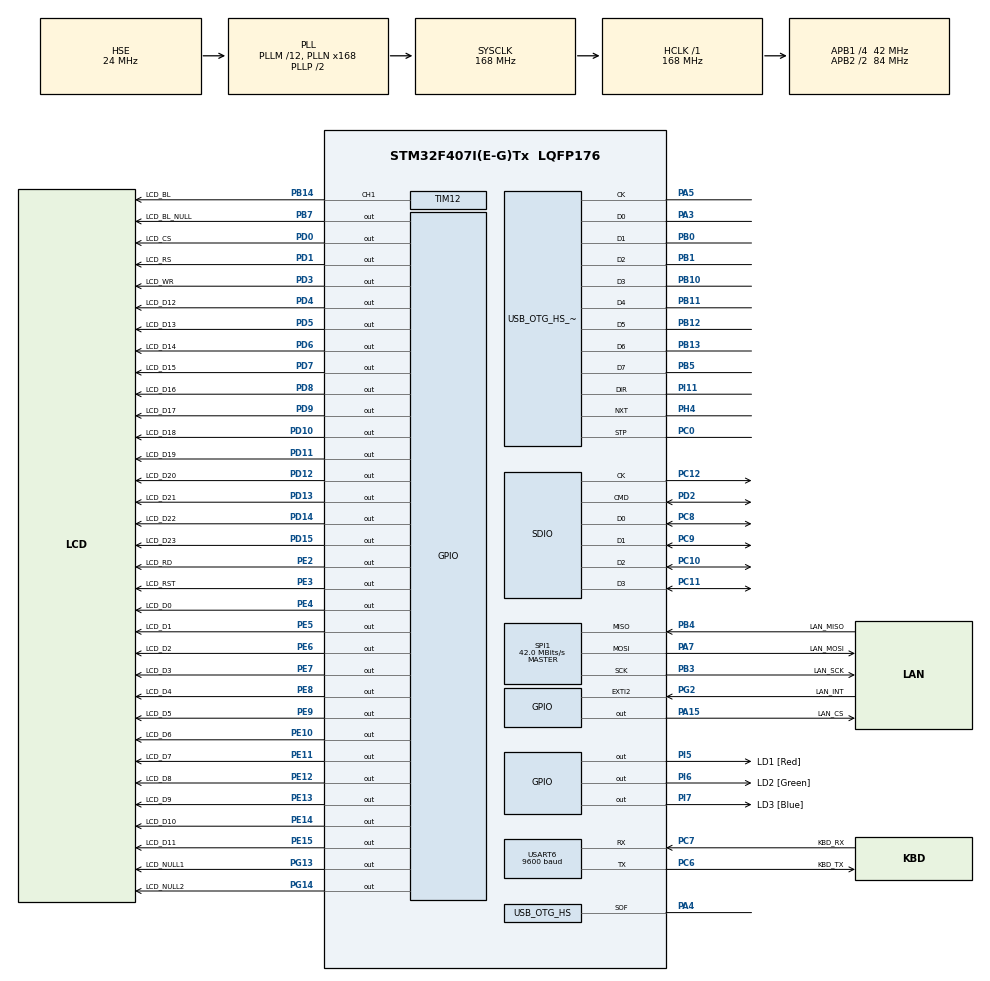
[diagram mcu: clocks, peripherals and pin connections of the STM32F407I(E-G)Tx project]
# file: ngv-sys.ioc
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FATFS.USE_DMA_CODE_SD=0
Mcu.Family=STM32F4
Mcu.Name=STM32F407I(E-G)Tx
Mcu.Package=LQFP176
NVIC.OTG_HS_IRQn=true\:0\:0\:false\:false\:true\:true
NVIC.PriorityGroup=NVIC_PRIORITYGROUP_4
PA13.Mode=Serial_Wire
PA13.Signal=SYS_JTMS-SWDIO
PA14.Mode=Serial_Wire
PA14.Signal=SYS_JTCK-SWCLK
PA15.GPIO_Label=LAN_CS
PA15.GPIO_Speed=GPIO_SPEED_FREQ_VERY_HIGH
PA15.PinState=GPIO_PIN_SET
PA15.Signal=GPIO_Output
PA3.Mode=Device_HS
PA3.Signal=USB_OTG_HS_ULPI_D0
PA4.Mode=Activate_SOF_FS
PA4.Signal=USB_OTG_HS_SOF
PA5.Mode=Device_HS
PA5.Signal=USB_OTG_HS_ULPI_CK
PA7.GPIO_Label=LAN_MOSI
PA7.Mode=Full_Duplex_Master
PA7.Signal=SPI1_MOSI
PB0.Mode=Device_HS
PB0.Signal=USB_OTG_HS_ULPI_D1
PB1.Mode=Device_HS
PB1.Signal=USB_OTG_HS_ULPI_D2
PB10.Mode=Device_HS
PB10.Signal=USB_OTG_HS_ULPI_D3
PB11.Mode=Device_HS
PB11.Signal=USB_OTG_HS_ULPI_D4
PB12.Mode=Device_HS
PB12.Signal=USB_OTG_HS_ULPI_D5
PB13.Mode=Device_HS
PB13.Signal=USB_OTG_HS_ULPI_D6
PB14.GPIO_Label=LCD_BL
PB14.Signal=S_TIM12_CH1
PB3.GPIO_Label=LAN_SCK
PB3.Mode=Full_Duplex_Master
PB3.Signal=SPI1_SCK
PB4.GPIO_Label=LAN_MISO
PB4.Mode=Full_Duplex_Master
PB4.Signal=SPI1_MISO
PB5.Mode=Device_HS
PB5.Signal=USB_OTG_HS_ULPI_D7
PB7.GPIO_Label=LCD_BL_NULL
PB7.Signal=GPIO_Output
PC0.Mode=Device_HS
PC0.Signal=USB_OTG_HS_ULPI_STP
PC10.Mode=SD_4_bits_Wide_bus
PC10.Signal=SDIO_D2
PC11.Mode=SD_4_bits_Wide_bus
PC11.Signal=SDIO_D3
PC12.Mode=SD_4_bits_Wide_bus
PC12.Signal=SDIO_CK
PC14-OSC32_IN.Mode=LSE-External-Oscillator
PC14-OSC32_IN.Signal=RCC_OSC32_IN
PC15-OSC32_OUT.Mode=LSE-External-Oscillator
PC15-OSC32_OUT.Signal=RCC_OSC32_OUT
PC6.GPIO_Label=KBD_TX
PC6.Mode=Asynchronous
PC6.Signal=USART6_TX
PC7.GPIO_Label=KBD_RX
PC7.Mode=Asynchronous
PC7.Signal=USART6_RX
PC8.Mode=SD_4_bits_Wide_bus
PC8.Signal=SDIO_D0
PC9.Mode=SD_4_bits_Wide_bus
PC9.Signal=SDIO_D1
PD0.GPIO_Label=LCD_CS
PD0.GPIO_Speed=GPIO_SPEED_FREQ_VERY_HIGH
PD0.PinState=GPIO_PIN_SET
PD0.Signal=GPIO_Output
PD1.GPIO_Label=LCD_RS
PD1.GPIO_Speed=GPIO_SPEED_FREQ_VERY_HIGH
PD1.PinState=GPIO_PIN_SET
PD1.Signal=GPIO_Output
PD10.GPIO_Label=LCD_D18
PD10.GPIO_ModeDefaultOutputPP=GPIO_MODE_OUTPUT_PP
PD10.GPIO_PuPd=GPIO_NOPULL
PD10.GPIO_Speed=GPIO_SPEED_FREQ_VERY_HIGH
PD10.PinState=GPIO_PIN_SET
PD10.Signal=GPIO_Output
PD11.GPIO_Label=LCD_D19
PD11.GPIO_ModeDefaultOutputPP=GPIO_MODE_OUTPUT_PP
PD11.GPIO_PuPd=GPIO_NOPULL
PD11.GPIO_Speed=GPIO_SPEED_FREQ_VERY_HIGH
PD11.PinState=GPIO_PIN_SET
PD11.Signal=GPIO_Output
PD12.GPIO_Label=LCD_D20
PD12.GPIO_ModeDefaultOutputPP=GPIO_MODE_OUTPUT_PP
PD12.GPIO_PuPd=GPIO_NOPULL
PD12.GPIO_Speed=GPIO_SPEED_FREQ_VERY_HIGH
PD12.PinState=GPIO_PIN_SET
PD12.Signal=GPIO_Output
PD13.GPIO_Label=LCD_D21
PD13.GPIO_ModeDefaultOutputPP=GPIO_MODE_OUTPUT_PP
PD13.GPIO_PuPd=GPIO_NOPULL
PD13.GPIO_Speed=GPIO_SPEED_FREQ_VERY_HIGH
PD13.PinState=GPIO_PIN_SET
PD13.Signal=GPIO_Output
PD14.GPIO_Label=LCD_D22
PD14.GPIO_ModeDefaultOutputPP=GPIO_MODE_OUTPUT_PP
PD14.GPIO_PuPd=GPIO_NOPULL
PD14.GPIO_Speed=GPIO_SPEED_FREQ_VERY_HIGH
PD14.PinState=GPIO_PIN_SET
PD14.Signal=GPIO_Output
PD15.GPIO_Label=LCD_D23
PD15.GPIO_ModeDefaultOutputPP=GPIO_MODE_OUTPUT_PP
PD15.GPIO_PuPd=GPIO_NOPULL
PD15.GPIO_Speed=GPIO_SPEED_FREQ_VERY_HIGH
PD15.PinState=GPIO_PIN_SET
PD15.Signal=GPIO_Output
PD2.Mode=SD_4_bits_Wide_bus
PD2.Signal=SDIO_CMD
PD3.GPIO_Label=LCD_WR
PD3.GPIO_Speed=GPIO_SPEED_FREQ_VERY_HIGH
PD3.PinState=GPIO_PIN_SET
PD3.Signal=GPIO_Output
PD4.GPIO_Label=LCD_D12
PD4.GPIO_ModeDefaultOutputPP=GPIO_MODE_OUTPUT_PP
PD4.GPIO_PuPd=GPIO_NOPULL
PD4.GPIO_Speed=GPIO_SPEED_FREQ_VERY_HIGH
PD4.PinState=GPIO_PIN_SET
PD4.Signal=GPIO_Output
PD5.GPIO_Label=LCD_D13
PD5.GPIO_ModeDefaultOutputPP=GPIO_MODE_OUTPUT_PP
PD5.GPIO_PuPd=GPIO_NOPULL
PD5.GPIO_Speed=GPIO_SPEED_FREQ_VERY_HIGH
PD5.PinState=GPIO_PIN_SET
PD5.Signal=GPIO_Output
PD6.GPIO_Label=LCD_D14
PD6.GPIO_ModeDefaultOutputPP=GPIO_MODE_OUTPUT_PP
PD6.GPIO_PuPd=GPIO_NOPULL
PD6.GPIO_Speed=GPIO_SPEED_FREQ_VERY_HIGH
PD6.PinState=GPIO_PIN_SET
PD6.Signal=GPIO_Output
PD7.GPIO_Label=LCD_D15
PD7.GPIO_ModeDefaultOutputPP=GPIO_MODE_OUTPUT_PP
PD7.GPIO_PuPd=GPIO_NOPULL
PD7.GPIO_Speed=GPIO_SPEED_FREQ_VERY_HIGH
PD7.PinState=GPIO_PIN_SET
PD7.Signal=GPIO_Output
PD8.GPIO_Label=LCD_D16
PD8.GPIO_ModeDefaultOutputPP=GPIO_MODE_OUTPUT_PP
PD8.GPIO_PuPd=GPIO_NOPULL
PD8.GPIO_Speed=GPIO_SPEED_FREQ_VERY_HIGH
PD8.PinState=GPIO_PIN_SET
PD8.Signal=GPIO_Output
PD9.GPIO_Label=LCD_D17
PD9.GPIO_ModeDefaultOutputPP=GPIO_MODE_OUTPUT_PP
PD9.GPIO_PuPd=GPIO_NOPULL
PD9.GPIO_Speed=GPIO_SPEED_FREQ_VERY_HIGH
PD9.PinState=GPIO_PIN_SET
PD9.Signal=GPIO_Output
PE10.GPIO_Label=LCD_D6
PE10.GPIO_ModeDefaultOutputPP=GPIO_MODE_OUTPUT_PP
PE10.GPIO_PuPd=GPIO_NOPULL
PE10.GPIO_Speed=GPIO_SPEED_FREQ_VERY_HIGH
PE10.PinState=GPIO_PIN_SET
PE10.Signal=GPIO_Output
PE11.GPIO_Label=LCD_D7
PE11.GPIO_ModeDefaultOutputPP=GPIO_MODE_OUTPUT_PP
PE11.GPIO_PuPd=GPIO_NOPULL
PE11.GPIO_Speed=GPIO_SPEED_FREQ_VERY_HIGH
PE11.PinState=GPIO_PIN_SET
PE11.Signal=GPIO_Output
PE12.GPIO_Label=LCD_D8
PE12.GPIO_ModeDefaultOutputPP=GPIO_MODE_OUTPUT_PP
PE12.GPIO_PuPd=GPIO_NOPULL
PE12.GPIO_Speed=GPIO_SPEED_FREQ_VERY_HIGH
PE12.PinState=GPIO_PIN_SET
PE12.Signal=GPIO_Output
PE13.GPIO_Label=LCD_D9
PE13.GPIO_ModeDefaultOutputPP=GPIO_MODE_OUTPUT_PP
PE13.GPIO_PuPd=GPIO_NOPULL
PE13.GPIO_Speed=GPIO_SPEED_FREQ_VERY_HIGH
PE13.PinState=GPIO_PIN_SET
PE13.Signal=GPIO_Output
PE14.GPIO_Label=LCD_D10
PE14.GPIO_ModeDefaultOutputPP=GPIO_MODE_OUTPUT_PP
PE14.GPIO_PuPd=GPIO_NOPULL
PE14.GPIO_Speed=GPIO_SPEED_FREQ_VERY_HIGH
PE14.PinState=GPIO_PIN_SET
PE14.Signal=GPIO_Output
PE15.GPIO_Label=LCD_D11
PE15.GPIO_ModeDefaultOutputPP=GPIO_MODE_OUTPUT_PP
PE15.GPIO_PuPd=GPIO_NOPULL
PE15.GPIO_Speed=GPIO_SPEED_FREQ_VERY_HIGH
PE15.PinState=GPIO_PIN_SET
PE15.Signal=GPIO_Output
PE2.GPIO_Label=LCD_RD
PE2.GPIO_Speed=GPIO_SPEED_FREQ_VERY_HIGH
PE2.PinState=GPIO_PIN_SET
PE2.Signal=GPIO_Output
PE3.GPIO_Label=LCD_RST
PE3.GPIO_Speed=GPIO_SPEED_FREQ_VERY_HIGH
PE3.PinState=GPIO_PIN_SET
PE3.Signal=GPIO_Output
PE4.GPIO_Label=LCD_D0
PE4.GPIO_ModeDefaultOutputPP=GPIO_MODE_OUTPUT_PP
PE4.GPIO_PuPd=GPIO_NOPULL
PE4.GPIO_Speed=GPIO_SPEED_FREQ_VERY_HIGH
PE4.PinState=GPIO_PIN_SET
PE4.Signal=GPIO_Output
PE5.GPIO_Label=LCD_D1
PE5.GPIO_ModeDefaultOutputPP=GPIO_MODE_OUTPUT_PP
PE5.GPIO_PuPd=GPIO_NOPULL
PE5.GPIO_Speed=GPIO_SPEED_FREQ_VERY_HIGH
PE5.PinState=GPIO_PIN_SET
PE5.Signal=GPIO_Output
PE6.GPIO_Label=LCD_D2
PE6.GPIO_ModeDefaultOutputPP=GPIO_MODE_OUTPUT_PP
PE6.GPIO_PuPd=GPIO_NOPULL
PE6.GPIO_Speed=GPIO_SPEED_FREQ_VERY_HIGH
PE6.PinState=GPIO_PIN_SET
PE6.Signal=GPIO_Output
PE7.GPIO_Label=LCD_D3
PE7.GPIO_ModeDefaultOutputPP=GPIO_MODE_OUTPUT_PP
PE7.GPIO_PuPd=GPIO_NOPULL
PE7.GPIO_Speed=GPIO_SPEED_FREQ_VERY_HIGH
PE7.PinState=GPIO_PIN_SET
PE7.Signal=GPIO_Output
PE8.GPIO_Label=LCD_D4
PE8.GPIO_ModeDefaultOutputPP=GPIO_MODE_OUTPUT_PP
PE8.GPIO_PuPd=GPIO_NOPULL
PE8.GPIO_Speed=GPIO_SPEED_FREQ_VERY_HIGH
PE8.PinState=GPIO_PIN_SET
PE8.Signal=GPIO_Output
PE9.GPIO_Label=LCD_D5
PE9.GPIO_ModeDefaultOutputPP=GPIO_MODE_OUTPUT_PP
PE9.GPIO_PuPd=GPIO_NOPULL
PE9.GPIO_Speed=GPIO_SPEED_FREQ_VERY_HIGH
PE9.PinState=GPIO_PIN_SET
PE9.Signal=GPIO_Output
PG13.GPIO_Label=LCD_NULL1
PG13.Signal=GPIO_Output
PG14.GPIO_Label=LCD_NULL2
PG14.Signal=GPIO_Output
PG2.GPIO_Label=LAN_INT
PG2.Signal=GPXTI2
PH0-OSC_IN.Mode=HSE-External-Oscillator
PH0-OSC_IN.Signal=RCC_OSC_IN
PH1-OSC_OUT.Mode=HSE-External-Oscillator
PH1-OSC_OUT.Signal=RCC_OSC_OUT
PH4.Mode=Device_HS
PH4.Signal=USB_OTG_HS_ULPI_NXT
PI11.Mode=Device_HS
PI11.Signal=USB_OTG_HS_ULPI_DIR
PI5.GPIO_Label=LD1 [Red]
PI5.GPIO_Speed=GPIO_SPEED_FREQ_VERY_HIGH
PI5.PinState=GPIO_PIN_SET
PI5.Signal=GPIO_Output
PI6.GPIO_Label=LD2 [Green]
PI6.GPIO_Speed=GPIO_SPEED_FREQ_VERY_HIGH
PI6.PinState=GPIO_PIN_SET
PI6.Signal=GPIO_Output
PI7.GPIO_Label=LD3 [Blue]
PI7.GPIO_Speed=GPIO_SPEED_FREQ_VERY_HIGH
PI7.PinState=GPIO_PIN_SET
PI7.Signal=GPIO_Output
ProjectManager.HeapSize=0x400
ProjectManager.StackSize=0x800
ProjectManager.TargetToolchain=SW4STM32
RCC.48MHZClocksFreq_Value=48000000
RCC.AHBFreq_Value=168000000
RCC.APB1CLKDivider=RCC_HCLK_DIV4
RCC.APB1Freq_Value=42000000
RCC.APB1TimFreq_Value=84000000
RCC.APB2CLKDivider=RCC_HCLK_DIV2
RCC.APB2Freq_Value=84000000
RCC.APB2TimFreq_Value=168000000
RCC.CortexFreq_Value=168000000
RCC.EnbaleCSS=true
RCC.HCLKFreq_Value=168000000
RCC.HSE_VALUE=24000000
RCC.HSI_VALUE=16000000
RCC.PLLM=12
RCC.PLLN=168
RCC.PLLQ=7
RCC.PLLSourceVirtual=RCC_PLLSOURCE_HSE
RCC.SYSCLKFreq_VALUE=168000000
RCC.SYSCLKSource=RCC_SYSCLKSOURCE_PLLCLK
RCC.VCOOutputFreq_Value=336000000
SDIO.WideMode=SDIO_BUS_WIDE_4B
SH.S_TIM12_CH1.0=TIM12_CH1,PWM Generation1 CH1
SPI1.CalculateBaudRate=42.0 MBits/s
SPI1.Direction=SPI_DIRECTION_2LINES
SPI1.Mode=SPI_MODE_MASTER
SPI1.VirtualType=VM_MASTER
TIM12.Channel-PWM\ Generation1\ CH1=TIM_CHANNEL_1
TIM12.Period=100
TIM12.Prescaler=335
TIM12.Pulse-PWM\ Generation1\ CH1=90
USART6.BaudRate=9600
USART6.VirtualMode=VM_ASYNC
USB_DEVICE.CLASS_NAME-MSC_HS=MSC
USB_DEVICE.CLASS_NAME_HS=MSC
USB_DEVICE.USBD_HandleTypeDef-MSC_HS=hUsbDeviceHS
USB_DEVICE.VirtualMode-MSC_HS=Msc
USB_DEVICE.VirtualModeHS=Msc_HS
USB_OTG_HS.VirtualMode-Device_HS=Device_HS
VP_FATFS_VS_SDIO.Mode=SDIO
VP_USB_DEVICE_VS_USB_DEVICE_MSC_HS.Mode=MSC_HS
board=ngv-sys

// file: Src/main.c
/**
  ******************************************************************************
  * @file           : main.c
  * @brief          : Main program body
  ******************************************************************************
  * This notice applies to any and all portions of this file
  * that are not between comment pairs USER CODE BEGIN and
  * USER CODE END. Other portions of this file, whether
  * inserted by the user or by software development tools
  * are owned by their respective copyright owners.
  *
  * Copyright (c) 2018 STMicroelectronics International N.V.
  * All rights reserved.
  *
  * Redistribution and use in source and binary forms, with or without
  * modification, are permitted, provided that the following conditions are met:
  *
  * 1. Redistribution of source code must retain the above copyright notice,
  *    this list of conditions and the following disclaimer.
  * 2. Redistributions in binary form must reproduce the above copyright notice,
  *    this list of conditions and the following disclaimer in the documentation
  *    and/or other materials provided with the distribution.
  * 3. Neither the name of STMicroelectronics nor the names of other
  *    contributors to this software may be used to endorse or promote products
  *    derived from this software without specific written permission.
  * 4. This software, including modifications and/or derivative works of this
  *    software, must execute solely and exclusively on microcontroller or
  *    microprocessor devices manufactured by or for STMicroelectronics.
  * 5. Redistribution and use of this software other than as permitted under
  *    this license is void and will automatically terminate your rights under
  *    this license.
  *
  * THIS SOFTWARE IS PROVIDED BY STMICROELECTRONICS AND CONTRIBUTORS "AS IS"
  * AND ANY EXPRESS, IMPLIED OR STATUTORY WARRANTIES, INCLUDING, BUT NOT
  * LIMITED TO, THE IMPLIED WARRANTIES OF MERCHANTABILITY, FITNESS FOR A
  * PARTICULAR PURPOSE AND NON-INFRINGEMENT OF THIRD PARTY INTELLECTUAL PROPERTY
  * RIGHTS ARE DISCLAIMED TO THE FULLEST EXTENT PERMITTED BY LAW. IN NO EVENT
  * SHALL STMICROELECTRONICS OR CONTRIBUTORS BE LIABLE FOR ANY DIRECT, INDIRECT,
  * INCIDENTAL, SPECIAL, EXEMPLARY, OR CONSEQUENTIAL DAMAGES (INCLUDING, BUT NOT
  * LIMITED TO, PROCUREMENT OF SUBSTITUTE GOODS OR SERVICES; LOSS OF USE, DATA,
  * OR PROFITS; OR BUSINESS INTERRUPTION) HOWEVER CAUSED AND ON ANY THEORY OF
  * LIABILITY, WHETHER IN CONTRACT, STRICT LIABILITY, OR TORT (INCLUDING
  * NEGLIGENCE OR OTHERWISE) ARISING IN ANY WAY OUT OF THE USE OF THIS SOFTWARE,
  * EVEN IF ADVISED OF THE POSSIBILITY OF SUCH DAMAGE.
  *
  ******************************************************************************
  */
#include "main.h"
#include "stm32f4xx_hal.h"
#include "fatfs.h"
#include "usb_device.h"

/* USER CODE BEGIN Includes */
#define NGV_SYS_VERSION "180606"

#include "usbd_core.h"
#include <setjmp.h>

#include "lcd.h"
#include "logo.h"
#include "nshel.h"
/* USER CODE END Includes */

SD_HandleTypeDef hsd;

SPI_HandleTypeDef hspi1;

TIM_HandleTypeDef htim12;

UART_HandleTypeDef huart6;

/* USER CODE BEGIN PV */
/* Private variables ---------------------------------------------------------*/
LCD* lcd;
pIO rd = { LCD_RD_GPIO_Port, LCD_RD_Pin },
	wr = { LCD_WR_GPIO_Port, LCD_WR_Pin },
	rs = { LCD_RS_GPIO_Port, LCD_RS_Pin },
	cs = { LCD_CS_GPIO_Port, LCD_CS_Pin },
	rst = { LCD_RST_GPIO_Port, LCD_RST_Pin };
pIO data[24] = {
	{ LCD_D0_GPIO_Port, LCD_D0_Pin }, { LCD_D1_GPIO_Port, LCD_D1_Pin },
	{ LCD_D2_GPIO_Port, LCD_D2_Pin }, { LCD_D3_GPIO_Port, LCD_D3_Pin },
	{ LCD_D4_GPIO_Port, LCD_D4_Pin }, { LCD_D5_GPIO_Port, LCD_D5_Pin },
	{ LCD_D6_GPIO_Port, LCD_D6_Pin }, { LCD_D7_GPIO_Port, LCD_D7_Pin },
	{ LCD_D8_GPIO_Port, LCD_D8_Pin }, { LCD_D9_GPIO_Port, LCD_D9_Pin },
	{ LCD_D10_GPIO_Port, LCD_D10_Pin }, { LCD_D11_GPIO_Port, LCD_D11_Pin },
	{ LCD_D12_GPIO_Port, LCD_D12_Pin }, { LCD_D13_GPIO_Port, LCD_D13_Pin },
	{ LCD_D14_GPIO_Port, LCD_D14_Pin }, { LCD_D15_GPIO_Port, LCD_D15_Pin },
	{ LCD_D16_GPIO_Port, LCD_D16_Pin }, { LCD_D17_GPIO_Port, LCD_D17_Pin },
	{ LCD_D18_GPIO_Port, LCD_D18_Pin }, { LCD_D19_GPIO_Port, LCD_D19_Pin },
	{ LCD_D20_GPIO_Port, LCD_D20_Pin }, { LCD_D21_GPIO_Port, LCD_D21_Pin },
	{ LCD_D22_GPIO_Port, LCD_D22_Pin }, { LCD_D23_GPIO_Port, LCD_D23_Pin }
};
jmp_buf rstPos;
uint8_t FS_OK = 0;
HAL_SD_CardInfoTypeDef cardInfo;

FIL file;
FATFS fs;
/* USER CODE END PV */

void SystemClock_Config(void);
static void MX_GPIO_Init(void);
static void MX_SDIO_SD_Init(void);
static void MX_SPI1_Init(void);
static void MX_USART6_UART_Init(void);
static void MX_TIM12_Init(void);

void HAL_TIM_MspPostInit(TIM_HandleTypeDef *htim);

/* USER CODE BEGIN PFP */
/* Private function prototypes -----------------------------------------------*/
void greenScreen(char* head) {
	lcd->colorb(lcd->p, 0x007F00);
	lcd->colorf(lcd->p, 0xFFFFFF);
	lcd->font(lcd->p, Small);
	lcd->clear(lcd->p);
	lcd->printfc(lcd->p, 64, "%s", head);
	lcd->printfc(lcd->p, 100, "WE DO NOT KNOW");
	lcd->printfc(lcd->p, 110, "WHAT HAD HAPPENED");
	for (int i = 0; i < 5; i++)
		for (int j = 0; j < 250; j++)
			for (int k = 0; k < 168000; k++)
				asm("nop");
	NVIC_SystemReset();
}
/* USER CODE END PFP */

int main(void)
{
  /* USER CODE BEGIN 1 */
	lcd = LCDInit(&rd, &wr, &rs, &cs, &rst, data);
  /* USER CODE END 1 */

  /* MCU Configuration----------------------------------------------------------*/

  /* Reset of all peripherals, Initializes the Flash interface and the Systick. */
  HAL_Init();

  /* Configure the system clock */
  SystemClock_Config();

  /* Initialize all configured peripherals */
  MX_GPIO_Init();
  MX_SDIO_SD_Init();
  MX_FATFS_Init();
  MX_USB_DEVICE_Init();
  MX_SPI1_Init();
  MX_USART6_UART_Init();
  MX_TIM12_Init();
  /* USER CODE BEGIN 2 */
	setjmp(rstPos);
	USBD_Stop(&hUsbDeviceHS);

	lcd->init(lcd->p);
	lcd->rotate(lcd->p, LCD_LANDSCAPE);
	lcd->font(lcd->p, Small);
	lcd->colorb(lcd->p, 0xFFFFFF);
	lcd->colorf(lcd->p, 0x000000);
	lcd->clear(lcd->p);

	lcd->bitmapsc(lcd->p, lcd->p->width / 2, 140, 64, 64, getLogo());
	lcd->printfc(lcd->p, 180, "nyagame vita");
	HAL_TIM_PWM_Start(&htim12, TIM_CHANNEL_1);
	HAL_Delay(1000);
	lcd->clear(lcd->p);

	lcd->printfa(lcd->p, "NyaGame Vita Factory System\n");
	lcd->printfa(lcd->p, "Version: %s\n\n", NGV_SYS_VERSION);
	HAL_Delay(1000);

	/* Initialize device */
	uint8_t result = 0;
	if (HAL_SD_Init(&hsd) == HAL_OK) {
		lcd->printfa(lcd->p, "Init SD card... OK\n");
	} else {
		lcd->printfa(lcd->p, "Init SD card... ERR\n");
	}

	lcd->printfa(lcd->p, "Mount SD card...\n");
	result = f_mount(&fs, SDPath, 1);
	if(result == FR_OK) {
		char path[] = "NGV_INFO.TXT";
		f_open(&file, path, FA_WRITE | FA_CREATE_ALWAYS);
		f_printf(&file, "NyaGame Vita Factory Edition with STM32F407\n");
		f_printf(&file, "by NyaSama Developer Network\n");
		f_printf(&file, "Firmware Version: %s\n", NGV_SYS_VERSION);
		f_close(&file);
		lcd->printfa(lcd->p, "Test SD card... OK\n");
		FS_OK = 1;
	} else {
		lcd->printfa(lcd->p, "Test SD card... ERR: %02X\n", result);
		FS_OK = 0;
	}

	if (FS_OK) {
		HAL_SD_GetCardInfo(&hsd, &cardInfo);
		lcd->printfa(lcd->p, "Init USB Mass Storage...\n");
		USBD_Start(&hUsbDeviceHS);
	}

	/* Initialize end */

	HAL_Delay(1000);

	lcd->printfa(lcd->p, "\n");
	char* args[] = { "nshel", "init.d" };
	nshel(2, args);
	lcd->printfa(lcd->p, "\n");

  /* USER CODE END 2 */

  /* Infinite loop */
  /* USER CODE BEGIN WHILE */
	uint8_t cnt = 0;
  while (1)
  {
	HAL_GPIO_WritePin(LD1_GPIO_Port, LD1_Pin, GPIO_PIN_SET);
	HAL_GPIO_WritePin(LD2_GPIO_Port, LD2_Pin, GPIO_PIN_RESET);
	HAL_GPIO_WritePin(LD3_GPIO_Port, LD3_Pin, GPIO_PIN_RESET);
	lcd->colorb(lcd->p, 0xFF0000);
	lcd->clear(lcd->p);
	HAL_GPIO_WritePin(LD1_GPIO_Port, LD1_Pin, GPIO_PIN_RESET);
	HAL_GPIO_WritePin(LD2_GPIO_Port, LD2_Pin, GPIO_PIN_RESET);
	HAL_GPIO_WritePin(LD3_GPIO_Port, LD3_Pin, GPIO_PIN_SET);
	lcd->colorb(lcd->p, 0x00FF00);
	lcd->clear(lcd->p);
	HAL_GPIO_WritePin(LD1_GPIO_Port, LD1_Pin, GPIO_PIN_RESET);
	HAL_GPIO_WritePin(LD2_GPIO_Port, LD2_Pin, GPIO_PIN_SET);
	HAL_GPIO_WritePin(LD3_GPIO_Port, LD3_Pin, GPIO_PIN_RESET);
	lcd->colorb(lcd->p, 0x0000FF);
	lcd->clear(lcd->p);

	if (cnt < 16) cnt += 1;
	else greenScreen("END OF SYSTEM");

  /* USER CODE END WHILE */

  }

}

void SystemClock_Config(void)
{

  RCC_OscInitTypeDef RCC_OscInitStruct;
  RCC_ClkInitTypeDef RCC_ClkInitStruct;

    /**Configure the main internal regulator output voltage
    */
  __HAL_RCC_PWR_CLK_ENABLE();

  __HAL_PWR_VOLTAGESCALING_CONFIG(PWR_REGULATOR_VOLTAGE_SCALE1);

    /**Initializes the CPU, AHB and APB busses clocks
    */
  RCC_OscInitStruct.OscillatorType = RCC_OSCILLATORTYPE_HSE;
  RCC_OscInitStruct.HSEState = RCC_HSE_ON;
  RCC_OscInitStruct.PLL.PLLState = RCC_PLL_ON;
  RCC_OscInitStruct.PLL.PLLSource = RCC_PLLSOURCE_HSE;
  RCC_OscInitStruct.PLL.PLLM = 12;
  RCC_OscInitStruct.PLL.PLLN = 168;
  RCC_OscInitStruct.PLL.PLLP = RCC_PLLP_DIV2;
  RCC_OscInitStruct.PLL.PLLQ = 7;
  if (HAL_RCC_OscConfig(&RCC_OscInitStruct) != HAL_OK)
  {
    _Error_Handler(__FILE__, __LINE__);
  }

    /**Initializes the CPU, AHB and APB busses clocks
    */
  RCC_ClkInitStruct.ClockType = RCC_CLOCKTYPE_HCLK|RCC_CLOCKTYPE_SYSCLK
                              |RCC_CLOCKTYPE_PCLK1|RCC_CLOCKTYPE_PCLK2;
  RCC_ClkInitStruct.SYSCLKSource = RCC_SYSCLKSOURCE_PLLCLK;
  RCC_ClkInitStruct.AHBCLKDivider = RCC_SYSCLK_DIV1;
  RCC_ClkInitStruct.APB1CLKDivider = RCC_HCLK_DIV4;
  RCC_ClkInitStruct.APB2CLKDivider = RCC_HCLK_DIV2;

  if (HAL_RCC_ClockConfig(&RCC_ClkInitStruct, FLASH_LATENCY_5) != HAL_OK)
  {
    _Error_Handler(__FILE__, __LINE__);
  }

    /**Enables the Clock Security System
    */
  HAL_RCC_EnableCSS();

    /**Configure the Systick interrupt time
    */
  HAL_SYSTICK_Config(HAL_RCC_GetHCLKFreq()/1000);

    /**Configure the Systick
    */
  HAL_SYSTICK_CLKSourceConfig(SYSTICK_CLKSOURCE_HCLK);

  /* SysTick_IRQn interrupt configuration */
  HAL_NVIC_SetPriority(SysTick_IRQn, 0, 0);
}

/* SDIO init function */
static void MX_SDIO_SD_Init(void)
{

  hsd.Instance = SDIO;
  hsd.Init.ClockEdge = SDIO_CLOCK_EDGE_RISING;
  hsd.Init.ClockBypass = SDIO_CLOCK_BYPASS_DISABLE;
  hsd.Init.ClockPowerSave = SDIO_CLOCK_POWER_SAVE_DISABLE;
  hsd.Init.BusWide = SDIO_BUS_WIDE_1B;
  hsd.Init.HardwareFlowControl = SDIO_HARDWARE_FLOW_CONTROL_DISABLE;
  hsd.Init.ClockDiv = 0;

}

/* SPI1 init function */
static void MX_SPI1_Init(void)
{

  /* SPI1 parameter configuration*/
  hspi1.Instance = SPI1;
  hspi1.Init.Mode = SPI_MODE_MASTER;
  hspi1.Init.Direction = SPI_DIRECTION_2LINES;
  hspi1.Init.DataSize = SPI_DATASIZE_8BIT;
  hspi1.Init.CLKPolarity = SPI_POLARITY_LOW;
  hspi1.Init.CLKPhase = SPI_PHASE_1EDGE;
  hspi1.Init.NSS = SPI_NSS_SOFT;
  hspi1.Init.BaudRatePrescaler = SPI_BAUDRATEPRESCALER_2;
  hspi1.Init.FirstBit = SPI_FIRSTBIT_MSB;
  hspi1.Init.TIMode = SPI_TIMODE_DISABLE;
  hspi1.Init.CRCCalculation = SPI_CRCCALCULATION_DISABLE;
  hspi1.Init.CRCPolynomial = 10;
  if (HAL_SPI_Init(&hspi1) != HAL_OK)
  {
    _Error_Handler(__FILE__, __LINE__);
  }

}

/* TIM12 init function */
static void MX_TIM12_Init(void)
{

  TIM_OC_InitTypeDef sConfigOC;

  htim12.Instance = TIM12;
  htim12.Init.Prescaler = 335;
  htim12.Init.CounterMode = TIM_COUNTERMODE_UP;
  htim12.Init.Period = 100;
  htim12.Init.ClockDivision = TIM_CLOCKDIVISION_DIV1;
  if (HAL_TIM_PWM_Init(&htim12) != HAL_OK)
  {
    _Error_Handler(__FILE__, __LINE__);
  }

  sConfigOC.OCMode = TIM_OCMODE_PWM1;
  sConfigOC.Pulse = 90;
  sConfigOC.OCPolarity = TIM_OCPOLARITY_HIGH;
  sConfigOC.OCFastMode = TIM_OCFAST_DISABLE;
  if (HAL_TIM_PWM_ConfigChannel(&htim12, &sConfigOC, TIM_CHANNEL_1) != HAL_OK)
  {
    _Error_Handler(__FILE__, __LINE__);
  }

  HAL_TIM_MspPostInit(&htim12);

}

/* USART6 init function */
static void MX_USART6_UART_Init(void)
{

  huart6.Instance = USART6;
  huart6.Init.BaudRate = 9600;
  huart6.Init.WordLength = UART_WORDLENGTH_8B;
  huart6.Init.StopBits = UART_STOPBITS_1;
  huart6.Init.Parity = UART_PARITY_NONE;
  huart6.Init.Mode = UART_MODE_TX_RX;
  huart6.Init.HwFlowCtl = UART_HWCONTROL_NONE;
  huart6.Init.OverSampling = UART_OVERSAMPLING_16;
  if (HAL_UART_Init(&huart6) != HAL_OK)
  {
    _Error_Handler(__FILE__, __LINE__);
  }

}

/** Configure pins as
        * Analog
        * Input
        * Output
        * EVENT_OUT
        * EXTI
*/
static void MX_GPIO_Init(void)
{

  GPIO_InitTypeDef GPIO_InitStruct;

  /* GPIO Ports Clock Enable */
  __HAL_RCC_GPIOE_CLK_ENABLE();
  __HAL_RCC_GPIOC_CLK_ENABLE();
  __HAL_RCC_GPIOI_CLK_ENABLE();
  __HAL_RCC_GPIOH_CLK_ENABLE();
  __HAL_RCC_GPIOA_CLK_ENABLE();
  __HAL_RCC_GPIOB_CLK_ENABLE();
  __HAL_RCC_GPIOD_CLK_ENABLE();
  __HAL_RCC_GPIOG_CLK_ENABLE();

  /*Configure GPIO pin Output Level */
  HAL_GPIO_WritePin(GPIOE, LCD_RD_Pin|LCD_RST_Pin|LCD_D0_Pin|LCD_D1_Pin
                          |LCD_D2_Pin|LCD_D3_Pin|LCD_D4_Pin|LCD_D5_Pin
                          |LCD_D6_Pin|LCD_D7_Pin|LCD_D8_Pin|LCD_D9_Pin
                          |LCD_D10_Pin|LCD_D11_Pin, GPIO_PIN_SET);

  /*Configure GPIO pin Output Level */
  HAL_GPIO_WritePin(GPIOD, LCD_D16_Pin|LCD_D17_Pin|LCD_D18_Pin|LCD_D19_Pin
                          |LCD_D20_Pin|LCD_D21_Pin|LCD_D22_Pin|LCD_D23_Pin
                          |LCD_CS_Pin|LCD_RS_Pin|LCD_WR_Pin|LCD_D12_Pin
                          |LCD_D13_Pin|LCD_D14_Pin|LCD_D15_Pin, GPIO_PIN_SET);

  /*Configure GPIO pin Output Level */
  HAL_GPIO_WritePin(LAN_CS_GPIO_Port, LAN_CS_Pin, GPIO_PIN_SET);

  /*Configure GPIO pin Output Level */
  HAL_GPIO_WritePin(GPIOG, LCD_NULL1_Pin|LCD_NULL2_Pin, GPIO_PIN_RESET);

  /*Configure GPIO pin Output Level */
  HAL_GPIO_WritePin(LCD_BL_NULL_GPIO_Port, LCD_BL_NULL_Pin, GPIO_PIN_RESET);

  /*Configure GPIO pin Output Level */
  HAL_GPIO_WritePin(GPIOI, LD1_Pin|LD2_Pin|LD3_Pin, GPIO_PIN_SET);

  /*Configure GPIO pins : LCD_RD_Pin LCD_RST_Pin LCD_D0_Pin LCD_D1_Pin
                           LCD_D2_Pin LCD_D3_Pin LCD_D4_Pin LCD_D5_Pin
                           LCD_D6_Pin LCD_D7_Pin LCD_D8_Pin LCD_D9_Pin
                           LCD_D10_Pin LCD_D11_Pin */
  GPIO_InitStruct.Pin = LCD_RD_Pin|LCD_RST_Pin|LCD_D0_Pin|LCD_D1_Pin
                          |LCD_D2_Pin|LCD_D3_Pin|LCD_D4_Pin|LCD_D5_Pin
                          |LCD_D6_Pin|LCD_D7_Pin|LCD_D8_Pin|LCD_D9_Pin
                          |LCD_D10_Pin|LCD_D11_Pin;
  GPIO_InitStruct.Mode = GPIO_MODE_OUTPUT_PP;
  GPIO_InitStruct.Pull = GPIO_NOPULL;
  GPIO_InitStruct.Speed = GPIO_SPEED_FREQ_VERY_HIGH;
  HAL_GPIO_Init(GPIOE, &GPIO_InitStruct);

  /*Configure GPIO pins : LCD_D16_Pin LCD_D17_Pin LCD_D18_Pin LCD_D19_Pin
                           LCD_D20_Pin LCD_D21_Pin LCD_D22_Pin LCD_D23_Pin
                           LCD_CS_Pin LCD_RS_Pin LCD_WR_Pin LCD_D12_Pin
                           LCD_D13_Pin LCD_D14_Pin LCD_D15_Pin */
  GPIO_InitStruct.Pin = LCD_D16_Pin|LCD_D17_Pin|LCD_D18_Pin|LCD_D19_Pin
                          |LCD_D20_Pin|LCD_D21_Pin|LCD_D22_Pin|LCD_D23_Pin
                          |LCD_CS_Pin|LCD_RS_Pin|LCD_WR_Pin|LCD_D12_Pin
                          |LCD_D13_Pin|LCD_D14_Pin|LCD_D15_Pin;
  GPIO_InitStruct.Mode = GPIO_MODE_OUTPUT_PP;
  GPIO_InitStruct.Pull = GPIO_NOPULL;
  GPIO_InitStruct.Speed = GPIO_SPEED_FREQ_VERY_HIGH;
  HAL_GPIO_Init(GPIOD, &GPIO_InitStruct);

  /*Configure GPIO pin : LAN_INT_Pin */
  GPIO_InitStruct.Pin = LAN_INT_Pin;
  GPIO_InitStruct.Mode = GPIO_MODE_IT_RISING;
  GPIO_InitStruct.Pull = GPIO_NOPULL;
  HAL_GPIO_Init(LAN_INT_GPIO_Port, &GPIO_InitStruct);

  /*Configure GPIO pin : LAN_CS_Pin */
  GPIO_InitStruct.Pin = LAN_CS_Pin;
  GPIO_InitStruct.Mode = GPIO_MODE_OUTPUT_PP;
  GPIO_InitStruct.Pull = GPIO_NOPULL;
  GPIO_InitStruct.Speed = GPIO_SPEED_FREQ_VERY_HIGH;
  HAL_GPIO_Init(LAN_CS_GPIO_Port, &GPIO_InitStruct);

  /*Configure GPIO pins : LCD_NULL1_Pin LCD_NULL2_Pin */
  GPIO_InitStruct.Pin = LCD_NULL1_Pin|LCD_NULL2_Pin;
  GPIO_InitStruct.Mode = GPIO_MODE_OUTPUT_PP;
  GPIO_InitStruct.Pull = GPIO_NOPULL;
  GPIO_InitStruct.Speed = GPIO_SPEED_FREQ_LOW;
  HAL_GPIO_Init(GPIOG, &GPIO_InitStruct);

  /*Configure GPIO pin : LCD_BL_NULL_Pin */
  GPIO_InitStruct.Pin = LCD_BL_NULL_Pin;
  GPIO_InitStruct.Mode = GPIO_MODE_OUTPUT_PP;
  GPIO_InitStruct.Pull = GPIO_NOPULL;
  GPIO_InitStruct.Speed = GPIO_SPEED_FREQ_LOW;
  HAL_GPIO_Init(LCD_BL_NULL_GPIO_Port, &GPIO_InitStruct);

  /*Configure GPIO pins : LD1_Pin LD2_Pin LD3_Pin */
  GPIO_InitStruct.Pin = LD1_Pin|LD2_Pin|LD3_Pin;
  GPIO_InitStruct.Mode = GPIO_MODE_OUTPUT_PP;
  GPIO_InitStruct.Pull = GPIO_NOPULL;
  GPIO_InitStruct.Speed = GPIO_SPEED_FREQ_VERY_HIGH;
  HAL_GPIO_Init(GPIOI, &GPIO_InitStruct);

}

void _Error_Handler(char *file, int line)
{
  while(1)
  {
  }
}

/************************ (C) COPYRIGHT STMicroelectronics *****END OF FILE****/
